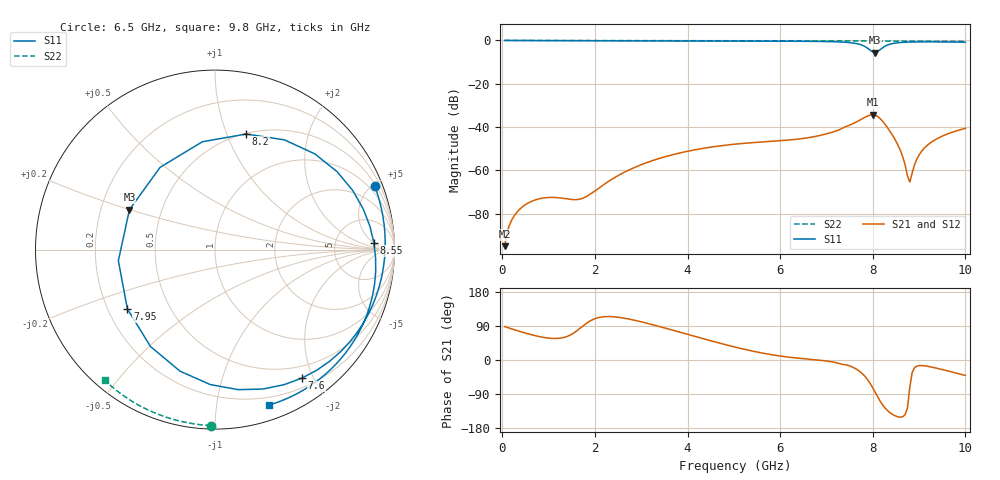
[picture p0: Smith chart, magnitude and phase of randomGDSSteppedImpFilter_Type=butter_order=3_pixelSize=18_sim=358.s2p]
! freq	dB(S11)	phase(S11)	dB(S12)	phase(S12)
!  dB(S21)	phase(S21)	dB(S22)	phase(S22)
!S-par simulation data
#  GHz  S  DB  R 50
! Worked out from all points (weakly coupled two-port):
!   200 points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, 50 MHz to 10 GHz, reference 50 ohm
!   highest |S21| = -34.35 dB at 8 GHz (marker M1); lowest = -95.0 dB at 50 MHz (marker M2)
!   lowest |S11| = -5.6 dB at 8.05 GHz (marker M3), VSWR 3.22, Z = 16.2 + j9.97 ohm
!   |S11| at or under -10 dB: nowhere
!   |S22| runs from -0.4 to 0.0 dB; largest |S21 - S12| = 0
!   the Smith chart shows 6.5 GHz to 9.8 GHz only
!   S11 on the Smith chart (normalised r, x): 6.5 GHz: 0.60, +5.15; 7.6 GHz: 0.32, -1.84; 7.95 GHz: 0.28, -0.28; 8.2 GHz: 0.51, +1.17; 8.55 GHz: 15, +5; 9.8 GHz: 0.13, -1.40
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0.05  -0.00 -3.3  -95.04 88.1  -95.04 88.1  -0.00 -0.8
0.95  -0.08 -60.0  -72.62 58.5  -72.62 58.5  -0.02 -14.5
1.75  -0.12 -106.1  -72.79 90.7  -72.79 90.7  -0.03 -26.5
2.6  -0.15 -150.3  -61.28 111.1  -61.28 111.1  -0.05 -38.9
3.4  -0.19 170.9  -54.44 88.1  -54.44 88.1  -0.07 -50.3
4.3  -0.23 128.4  -49.98 57.5  -49.98 57.5  -0.09 -62.8
5.05  -0.26 92.9  -47.86 33.4  -47.86 33.4  -0.11 -72.8
6.5  -0.37 21.7  -45.26 3.5  -45.26 3.5  -0.17 -91.3
6.7  -0.41 11.1  -44.58 1.3  -44.58 1.3  -0.18 -93.8
7.25  -0.65 -22.6  -41.48 -8.3  -41.48 -8.3  -0.21 -100.5
7.6  -1.27 -55.9  -38.16 -21.0  -38.16 -21.0  -0.24 -104.7
7.8  -2.47 -92.0  -35.85 -39.1  -35.85 -39.1  -0.25 -107.1
7.95  -4.59 -145.9  -34.46 -63.2  -34.46 -63.2  -0.26 -108.8
8  -5.32 -173.5  -34.35 -73.7  -34.35 -73.7  -0.26 -109.4
8.05  -5.58 155.0  -34.54 -84.9  -34.54 -84.9  -0.27 -110.0
8.2  -3.52 74.9  -37.02 -116.2  -37.02 -116.2  -0.28 -111.8
8.35  -1.86 32.6  -41.28 -136.9  -41.28 -136.9  -0.29 -113.5
8.55  -1.05 2.4  -48.63 -150.1  -48.63 -150.1  -0.30 -115.9
8.8  -0.74 -19.9  -65.40 -71.8  -65.40 -71.8  -0.33 -118.8
9.1  -0.65 -38.4  -50.03 -15.1  -50.03 -15.1  -0.35 -122.2
9.8  -0.75 -70.7  -41.81 -34.4  -41.81 -34.4  -0.42 -130.2
10  -0.83 -78.9  -40.60 -40.8  -40.60 -40.8  -0.45 -132.5
